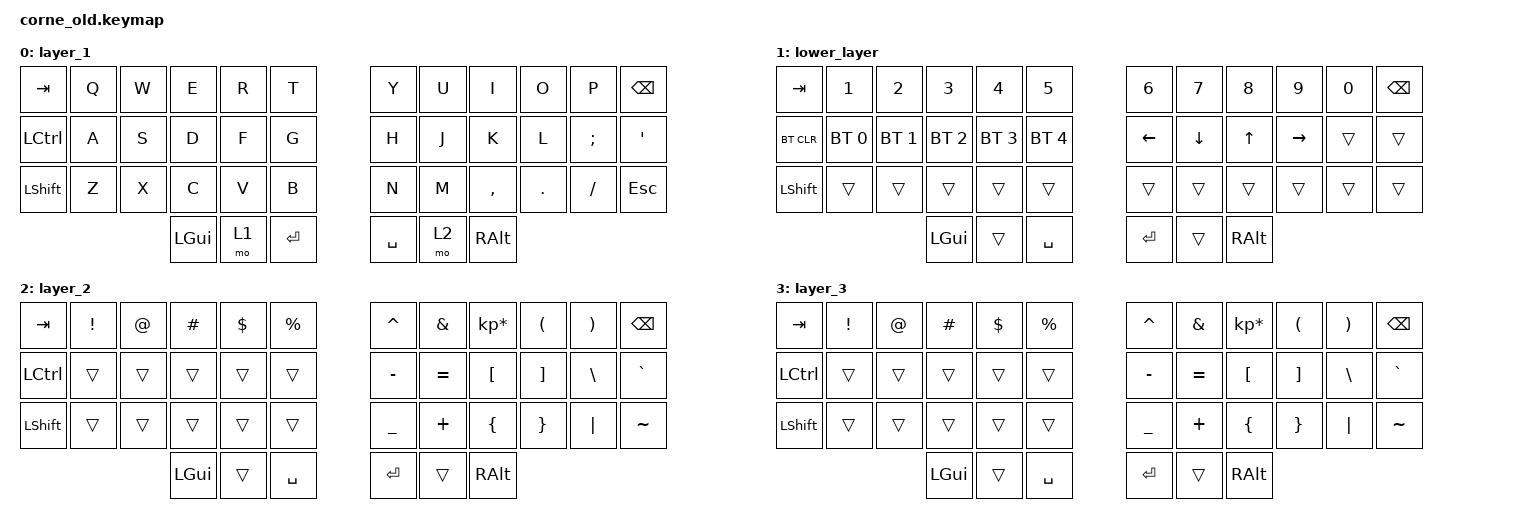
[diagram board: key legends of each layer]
#include <behaviors.dtsi>
#include <dt-bindings/zmk/keys.h>
#include <dt-bindings/zmk/bt.h>
#include "via_for_zmk.h"

/ {
        keymap {
                compatible = "zmk,keymap";

                layer_1 {
                        bindings = <
   &kp TAB   &kp Q &kp W &kp E &kp R &kp T   &kp Y &kp U  &kp I     &kp O   &kp P    &kp BSPC
   &kp LCTRL &kp A &kp S &kp D &kp F &kp G   &kp H &kp J  &kp K     &kp L   &kp SEMI &kp SQT
   &kp LSHFT &kp Z &kp X &kp C &kp V &kp B   &kp N &kp M  &kp COMMA &kp DOT &kp FSLH &kp ESC
                  &kp LGUI &mo 1 &kp RET   &kp SPACE &mo 2 &kp RALT
                        >;
                };
                lower_layer {
                        bindings = <
   &kp TAB    &kp N1       &kp N2       &kp N3       &kp N4       &kp N5         &kp N6   &kp N7   &kp N8 &kp N9    &kp N0 &kp BSPC
   &bt BT_CLR &bt BT_SEL 0 &bt BT_SEL 1 &bt BT_SEL 2 &bt BT_SEL 3 &bt BT_SEL 4   &kp LEFT &kp DOWN &kp UP &kp RIGHT &trans &trans
   &kp LSHFT  &trans       &trans       &trans       &trans       &trans         &trans   &trans   &trans &trans    &trans &trans
                          	        &kp LGUI     &trans       &kp SPACE      &kp RET  &trans   &kp RALT
                        >;
                };

                layer_2 {
                        bindings = <
   &kp  TAB  &kp EXCL &kp AT &kp HASH &kp DLLR &kp PRCNT   &kp CARET &kp AMPS  &kp KP_MULTIPLY &kp LPAR &kp RPAR &kp BSPC
   &kp LCTRL &trans   &trans &trans   &trans   &trans      &kp MINUS &kp EQUAL &kp LBKT        &kp RBKT &kp BSLH &kp GRAVE
   &kp LSHFT &trans   &trans &trans   &trans   &trans      &kp UNDER &kp PLUS  &kp LBRC        &kp RBRC &kp PIPE &kp TILDE
                    	     &kp LGUI &trans   &kp SPACE   &kp RET   &trans    &kp RALT
                        >;
                };
                
                layer_3 {
                        bindings = <
   &kp  TAB  &kp EXCL &kp AT &kp HASH &kp DLLR &kp PRCNT   &kp CARET &kp AMPS  &kp KP_MULTIPLY &kp LPAR &kp RPAR &kp BSPC
   &kp LCTRL &trans   &trans &trans   &trans   &trans      &kp MINUS &kp EQUAL &kp LBKT        &kp RBKT &kp BSLH &kp GRAVE
   &kp LSHFT &trans   &trans &trans   &trans   &trans      &kp UNDER &kp PLUS  &kp LBRC        &kp RBRC &kp PIPE &kp TILDE
                    	     &kp LGUI &trans   &kp SPACE   &kp RET   &trans    &kp RALT
                        >;
                };
        };
};
